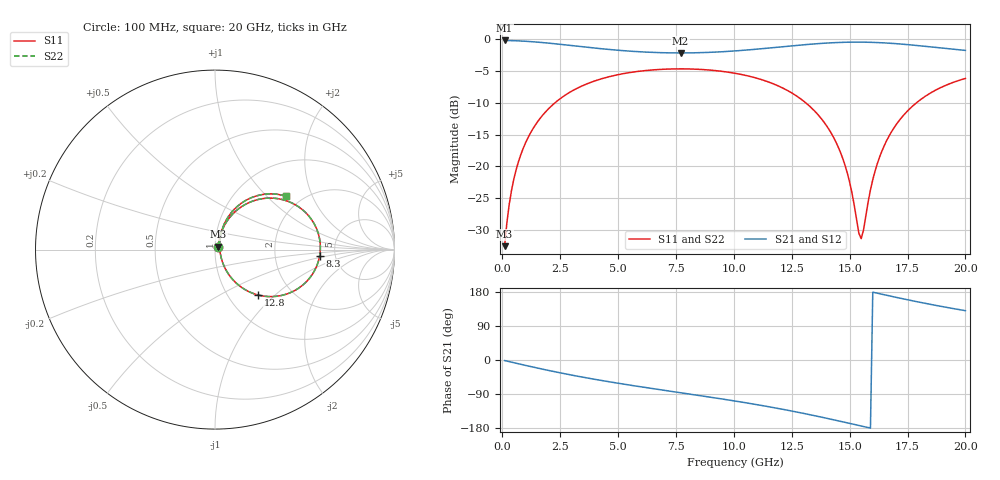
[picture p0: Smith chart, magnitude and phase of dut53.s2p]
! Touchstone file exported from HFSS 2026.1.0
!  File:  C:/ffzhzh/LocalFiles/Ansys_Project_Files/temp_train_TSV_RDL_53_1782967250_45308.aedt
!  Generated:  12:54:10 PM Jul  2, 2026
!  Design:  TSV_RDL
!  Project:  temp_train_TSV_RDL_53_1782967250_45308
! Variables:
!  h_bsmrdl = 5.48um
!  h_ox = 20um
!  h_rdl = 5um
!  h_sub = 85.14um
!  h_tmrdl = 5.64um
!  h_tsv = 85.14um
!  h_via = 3um
!  l_bsmrdl = 296.31um
!  l_sub = 3696um
!  l_tmrdl = 580.49um
!  m_sub = 200um
!  pitch = 46.2um
!  r_tsv = 7.36um
!  s_tmrdl = 10um
!  w_bsmrdl = 16.51um
!  w_sub = 500um
!  w_tmrdl = 11.86um
!  x_tsv_center1 = 586.42um
!  x_tsv_center2 = 899.24um
!  x_tsv_center3 = 1491.59um
!  x_tsv_center4 = 1804.41um
!  x_tsv_center5 = 2396.76um
!  x_tsv_center6 = 2709.58um
# GHz S MA R 50.000000
! Terminal data exported
! Port[1] = TM_RDL1_1_T1
! Port[2] = TM_RDL5_1_T1
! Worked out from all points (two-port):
!   200 points, 100 MHz to 20 GHz, reference 50 ohm
!   highest |S21| = -0.15 dB at 100 MHz (marker M1); lowest = -2.1 dB at 7.7 GHz (marker M2)
!   |S21| within 3 dB of the highest: start of sweep to end of sweep
!   lowest |S11| = -32.5 dB at 100 MHz (marker M3), VSWR 1.05, Z = 51.8 + j1.61 ohm
!   |S11| at or under -10 dB: start of sweep to 2.266 GHz; 13.11 GHz to 17.88 GHz (4.761 GHz wide, 30.7 % of centre)
!   |S22| runs from -32.5 to -4.6 dB; largest |S21 - S12| = 1.9e-14
!   S11 on the Smith chart (normalised r, x): 100 MHz: 1.04, +0.03; 8.3 GHz: 3.77, -0.38; 12.8 GHz: 1.37, -0.79; 20 GHz: 1.66, +1.30
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0.1  0.02359 41.2  0.9825 -1.5  0.9825 -1.5  0.02359 41.2
! Gamma 0 0 0 0
! Port Impedance 50 0 50 0
0.3  0.0505 64.6  0.9808 -4.3  0.9808 -4.3  0.0505 64.6
0.5  0.07984 69.3  0.9783 -7.2  0.9783 -7.2  0.07983 69.3
1.1  0.1671 67.5  0.9659 -15.6  0.9659 -15.6  0.1671 67.5
2.1  0.2972 56.7  0.9322 -28.9  0.9322 -28.9  0.2972 56.7
3.5  0.4353 41.1  0.8751 -45.6  0.8751 -45.6  0.4353 41.1
5.2  0.5373 24.1  0.8171 -63.3  0.8171 -63.3  0.5373 24.2
6.8  0.581 9.7  0.7878 -78.2  0.7878 -78.2  0.581 9.8
7.7  0.5872 2.0  0.7835 -86.4  0.7835 -86.4  0.5872 2.0
8.3  0.5843 -3.2  0.7855 -91.8  0.7855 -91.8  0.5843 -3.2
10.1  0.54 -19.3  0.8139 -108.7  0.8139 -108.7  0.54 -19.3
12.8  0.3499 -46.4  0.9012 -138.3  0.9012 -138.3  0.3498 -46.4
13.4  0.2838 -52.7  0.9208 -145.8  0.9208 -145.8  0.2838 -52.7
14.1  0.1968 -59.2  0.9394 -155.0  0.9394 -155.0  0.1968 -59.2
14.7  0.1161 -61.5  0.9497 -163.1  0.9497 -163.1  0.1161 -61.5
15  0.07531 -58.0  0.9525 -167.2  0.9525 -167.2  0.0753 -58.0
15.4  0.02977 -19.4  0.9535 -172.8  0.9535 -172.8  0.0298 -19.3
15.5  0.02705 8.3  0.9532 -174.2  0.9532 -174.2  0.02709 8.3
16.1  0.09221 69.2  0.9476 177.6  0.9476 177.6  0.09224 69.2
16.7  0.1733 69.3  0.9354 169.4  0.9354 169.4  0.1733 69.3
18  0.3296 57.4  0.8935 152.7  0.8935 152.7  0.3296 57.4
20  0.4934 37.2  0.8202 130.2  0.8202 130.2  0.4934 37.2
